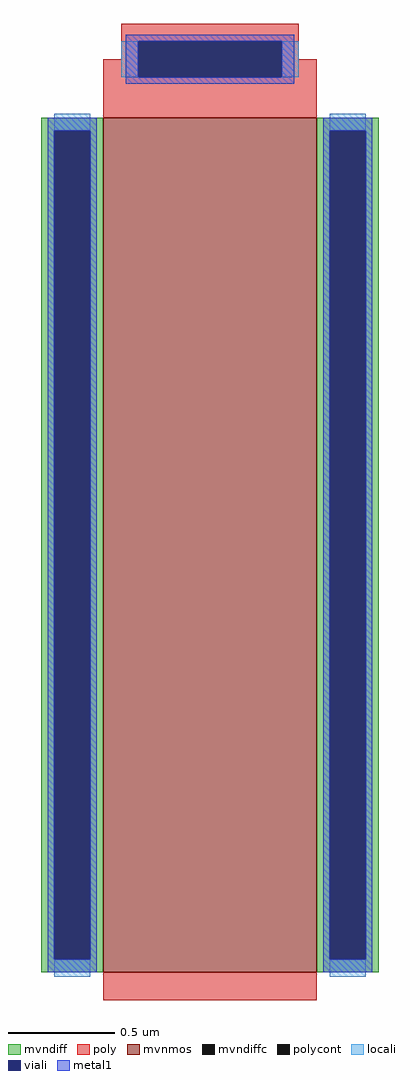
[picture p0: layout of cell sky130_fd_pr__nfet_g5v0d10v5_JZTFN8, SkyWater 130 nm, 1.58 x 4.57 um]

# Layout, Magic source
magic
tech sky130A
magscale 1 2
<< mvnmos >>
rect -100 -431 100 369
<< mvndiff >>
rect -158 357 -100 369
rect -158 -419 -146 357
rect -112 -419 -100 357
rect -158 -431 -100 -419
rect 100 357 158 369
rect 100 -419 112 357
rect 146 -419 158 357
rect 100 -431 158 -419
<< mvndiffc >>
rect -146 -419 -112 357
rect 112 -419 146 357
<< poly >>
rect -83 441 83 457
rect -83 424 -67 441
rect -100 407 -67 424
rect 67 424 83 441
rect 67 407 100 424
rect -100 369 100 407
rect -100 -457 100 -431
<< polycont >>
rect -67 407 67 441
<< locali >>
rect -83 407 -67 441
rect 67 407 83 441
rect -146 357 -112 373
rect -146 -435 -112 -419
rect 112 357 146 373
rect 112 -435 146 -419
<< viali >>
rect -67 407 67 441
rect -146 -419 -112 357
rect 112 -419 146 357
<< metal1 >>
rect -79 441 79 447
rect -79 407 -67 441
rect 67 407 79 441
rect -79 401 79 407
rect -152 357 -106 369
rect -152 -419 -146 357
rect -112 -419 -106 357
rect -152 -431 -106 -419
rect 106 357 152 369
rect 106 -419 112 357
rect 146 -419 152 357
rect 106 -431 152 -419
<< properties >>
string gencell sky130_fd_pr__nfet_g5v0d10v5
string library sky130
string parameters w 4 l 1 m 1 nf 1 diffcov 100 polycov 80 guard 0 glc 1 grc 1 gtc 1 gbc 1 tbcov 100 rlcov 100 topc 1 botc 0 poverlap 0 doverlap 1 lmin 0.50 wmin 0.42 class mosfet compatible {sky130_fd_pr__nfet_01v8 sky130_fd_pr__nfet_01v8_lvt  sky130_fd_bs_flash__special_sonosfet_star  sky130_fd_pr__nfet_g5v0d10v5 sky130_fd_pr__nfet_05v0_nvt  sky130_fd_pr__nfet_03v3_nvt} full_metal 1 viasrc 100 viadrn 100 viagate 80 viagb 0 viagr 0 viagl 0 viagt 0
<< end >>
